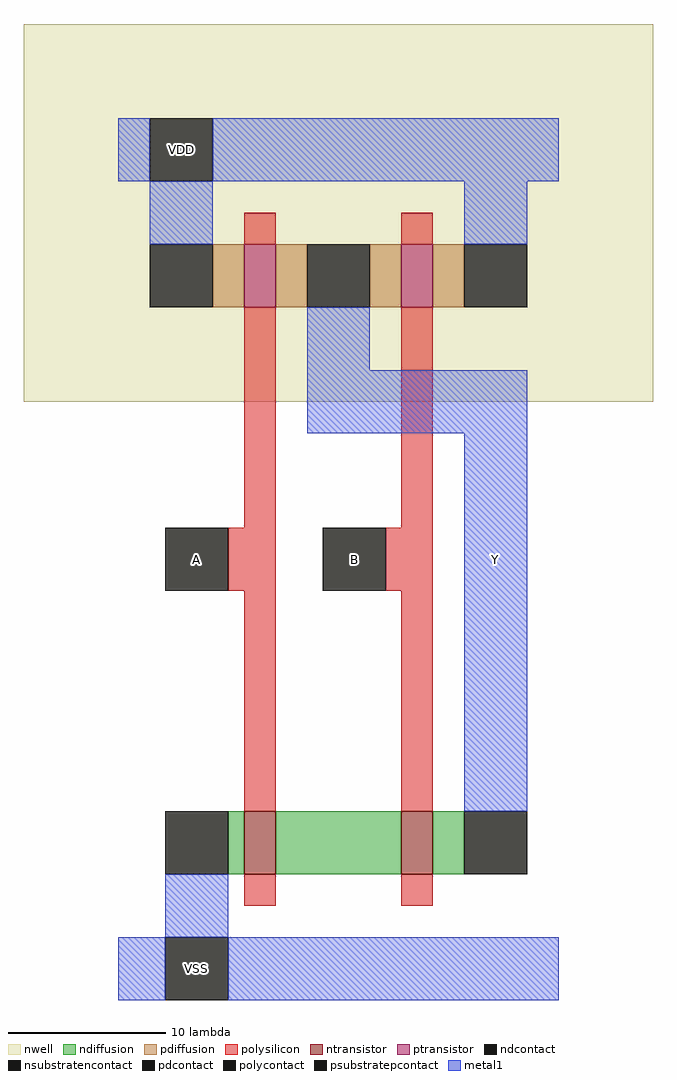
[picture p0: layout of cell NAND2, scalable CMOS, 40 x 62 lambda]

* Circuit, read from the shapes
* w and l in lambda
.subckt NAND2 A B VDD VSS Y
M1 n1 A VSS VSS nfet w=4 l=2
M2 Y B n1 VSS nfet w=4 l=2
M3 Y A VDD VDD pfet w=4 l=2
M4 VDD B Y VDD pfet w=4 l=2
.ends

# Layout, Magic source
magic
tech scmos
<< nwell >>
rect -6 38 34 62
<< ntransistor >>
rect 8 8 10 12
rect 18 8 20 12
<< ptransistor >>
rect 8 44 10 48
rect 18 44 20 48
<< ndiffusion >>
rect 7 8 8 12
rect 10 8 18 12
rect 20 8 22 12
<< pdiffusion >>
rect 6 44 8 48
rect 10 44 12 48
rect 16 44 18 48
rect 20 44 22 48
<< ndcontact >>
rect 3 8 7 12
rect 22 8 26 12
<< pdcontact >>
rect 2 44 6 48
rect 12 44 16 48
rect 22 44 26 48
<< psubstratepcontact >>
rect 3 0 7 4
<< nsubstratencontact >>
rect 2 52 6 56
<< polysilicon >>
rect 8 48 10 50
rect 18 48 20 50
rect 8 30 10 44
rect 18 30 20 44
rect 7 26 10 30
rect 17 26 20 30
rect 8 12 10 26
rect 18 12 20 26
rect 8 6 10 8
rect 18 6 20 8
<< polycontact >>
rect 3 26 7 30
rect 13 26 17 30
<< metal1 >>
rect 0 52 2 56
rect 6 52 28 56
rect 2 48 6 52
rect 22 48 26 52
rect 12 40 16 44
rect 12 36 26 40
rect 22 12 26 36
rect 3 4 7 8
rect 0 0 3 4
rect 7 0 28 4
<< labels >>
rlabel psubstratepcontact 5 2 5 2 1 VSS
rlabel polycontact 5 28 5 28 1 A
rlabel polycontact 15 28 15 28 1 B
rlabel metal1 24 28 24 28 1 Y
rlabel nsubstratencontact 4 54 4 54 1 VDD
<< end >>
